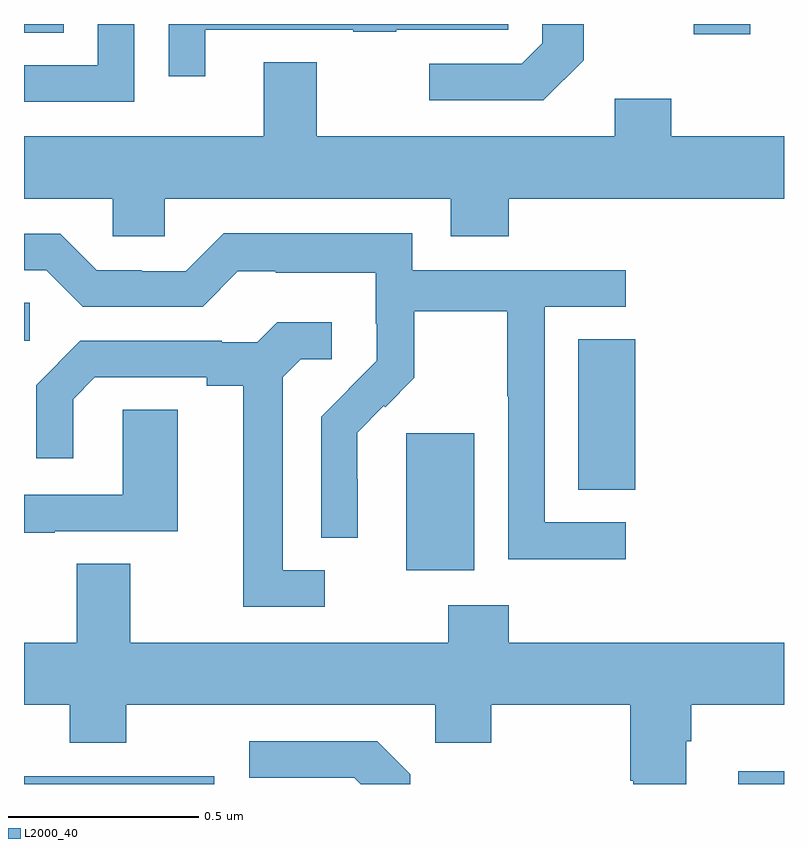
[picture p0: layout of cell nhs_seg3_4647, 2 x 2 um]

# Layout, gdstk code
import gdstk
lib = gdstk.Library(unit=1e-6, precision=1e-09)
def R(c, l, rs):  # rectangles x0, y0, x1, y1
    for r in rs: c.add(gdstk.rectangle(r[:2], r[2:], *l))
def P(c, l, *ps):  # polygons
    for p in ps: c.add(gdstk.Polygon(p, *l))
L2000_40 = (2000, 40)

nhs_seg3_4647 = lib.new_cell('nhs_seg3_4647')
R(nhs_seg3_4647, L2000_40, [(169,675.4,169.5,675.42), (170.879,675.4,171,675.433), (170.006,675.962,170.185,676.323), (170.459,676.174,170.609,676.571), (169,676.566,169.015,676.667), (170.763,677.373,170.911,677.4), (169,677.377,169.104,677.4)])
P(nhs_seg3_4647, L2000_40, [(170.473,677.305),(170.473,677.4),(170.364,677.4),(170.364,677.349),(170.31,677.295),(170.067,677.295),(170.067,677.199),(170.367,677.199)],
  [(169.29,677.4),(169.194,677.4),(169.194,677.292),(169,677.292),(169,677.196),(169.29,677.196)],
  [(169.477,677.385),(169.867,677.385),(169.867,677.38),(169.979,677.38),(169.979,677.385),(170.274,677.385),(170.274,677.4),(169.381,677.4),(169.381,677.262),(169.477,677.262)],
  [(170.276,676.94),(171,676.94),(171,677.104),(170.703,677.104),(170.703,677.203),(170.555,677.203),(170.555,677.104),(169.771,677.104),(169.771,677.299),(169.631,677.299),(169.631,677.104),(169,677.104),(169,676.94),(169.233,676.94),(169.233,676.842),(169.371,676.842),(169.371,676.94),(170.123,676.94),(170.123,676.841),(170.276,676.841)],
  [(170.584,676.089),(170.37,676.089),(170.37,676.656),(170.584,676.656),(170.584,676.752),(170.022,676.752),(170.022,676.849),(169.525,676.849),(169.425,676.749),(169.31,676.749),(169.31,676.752),(169.191,676.752),(169.095,676.848),(169,676.848),(169,676.752),(169.059,676.752),(169.155,676.656),(169.47,676.656),(169.563,676.749),(169.663,676.749),(169.663,676.745),(169.926,676.745),(169.926,676.611),(169.928,676.611),(169.928,676.514),(169.854,676.44),(169.855,676.439),(169.782,676.366),(169.782,676.048),(169.878,676.048),(169.878,676.202),(169.877,676.202),(169.877,676.325),(169.947,676.395),(169.95,676.392),(170.027,676.469),(170.027,676.644),(170.272,676.644),(170.272,676.42),(170.274,676.42),(170.274,675.991),(170.584,675.991)],
  [(169.792,675.963),(169.681,675.963),(169.681,676.471),(169.728,676.518),(169.81,676.518),(169.81,676.615),(169.666,676.615),(169.614,676.563),(169.52,676.563),(169.52,676.566),(169.148,676.566),(169.032,676.45),(169.032,676.257),(169.129,676.257),(169.129,676.413),(169.186,676.47),(169.481,676.47),(169.481,676.448),(169.577,676.448),(169.577,675.867),(169.792,675.867)],
  [(169.081,676.065),(169.405,676.065),(169.405,676.385),(169.26,676.385),(169.26,676.161),(169,676.161),(169,676.061),(169.081,676.061)],
  [(170.743,675.512),(170.756,675.512),(170.756,675.608),(171,675.608),(171,675.772),(170.276,675.772),(170.276,675.871),(170.116,675.871),(170.116,675.772),(169.279,675.772),(169.279,675.98),(169.139,675.98),(169.139,675.772),(169,675.772),(169,675.608),(169.121,675.608),(169.121,675.509),(169.269,675.509),(169.269,675.608),(170.082,675.608),(170.082,675.509),(170.229,675.509),(170.229,675.608),(170.596,675.608),(170.596,675.409),(170.603,675.409),(170.603,675.4),(170.743,675.4)],
  [(170.016,675.426),(169.929,675.513),(169.593,675.513),(169.593,675.417),(169.869,675.417),(169.886,675.4),(170.016,675.4)])

lib.write_gds('nhs_seg3_4647.gds')
